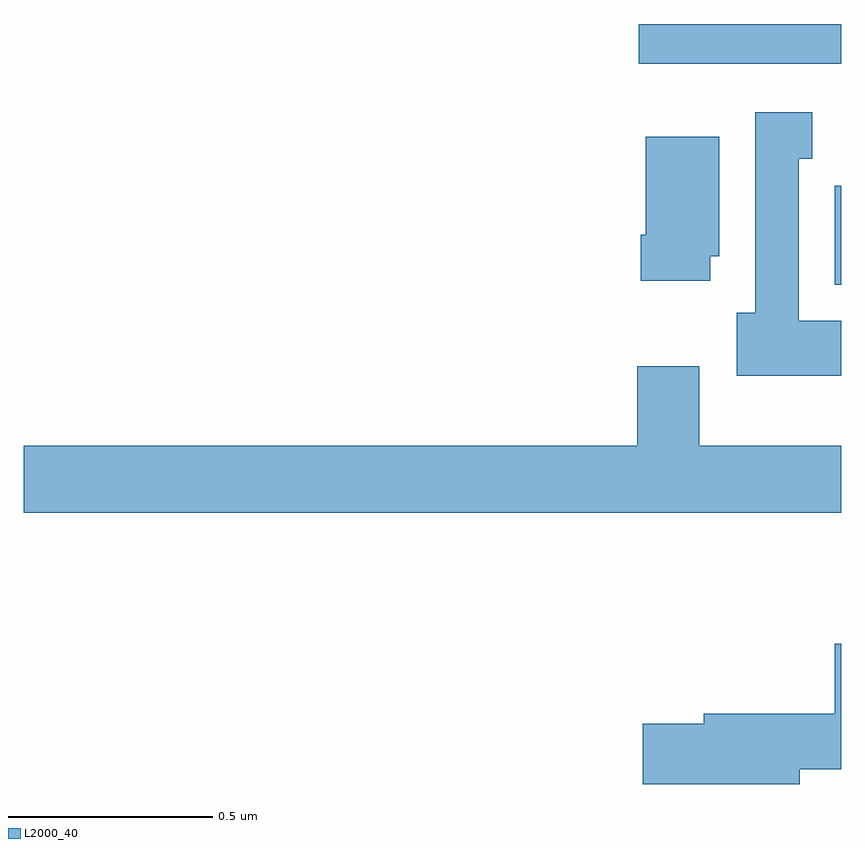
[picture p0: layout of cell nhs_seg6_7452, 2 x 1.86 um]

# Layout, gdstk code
import gdstk
lib = gdstk.Library(unit=1e-6, precision=1e-09)
def R(c, l, rs):  # rectangles x0, y0, x1, y1
    for r in rs: c.add(gdstk.rectangle(r[:2], r[2:], *l))
def P(c, l, *ps):  # polygons
    for p in ps: c.add(gdstk.Polygon(p, *l))
L2000_40 = (2000, 40)

nhs_seg6_7452 = lib.new_cell('nhs_seg6_7452')
R(nhs_seg6_7452, L2000_40, [(209.984,979.862,210,980.104), (209.505,980.403,210,980.5)])
P(nhs_seg6_7452, L2000_40, [(210,979.774),(209.896,979.774),(209.896,980.171),(209.929,980.171),(209.929,980.284),(209.789,980.284),(209.789,979.794),(209.744,979.794),(209.744,979.64),(210,979.64)],
  [(209.68,979.932),(209.701,979.932),(209.701,980.224),(209.522,980.224),(209.522,979.984),(209.51,979.984),(209.51,979.872),(209.68,979.872)],
  [(210,979.468),(209.653,979.468),(209.653,979.663),(209.501,979.663),(209.501,979.468),(208,979.468),(208,979.304),(210,979.304)],
  [(209.898,978.677),(210,978.677),(210,978.984),(209.984,978.984),(209.984,978.813),(209.663,978.813),(209.663,978.788),(209.514,978.788),(209.514,978.641),(209.898,978.641)])

lib.write_gds('nhs_seg6_7452.gds')
